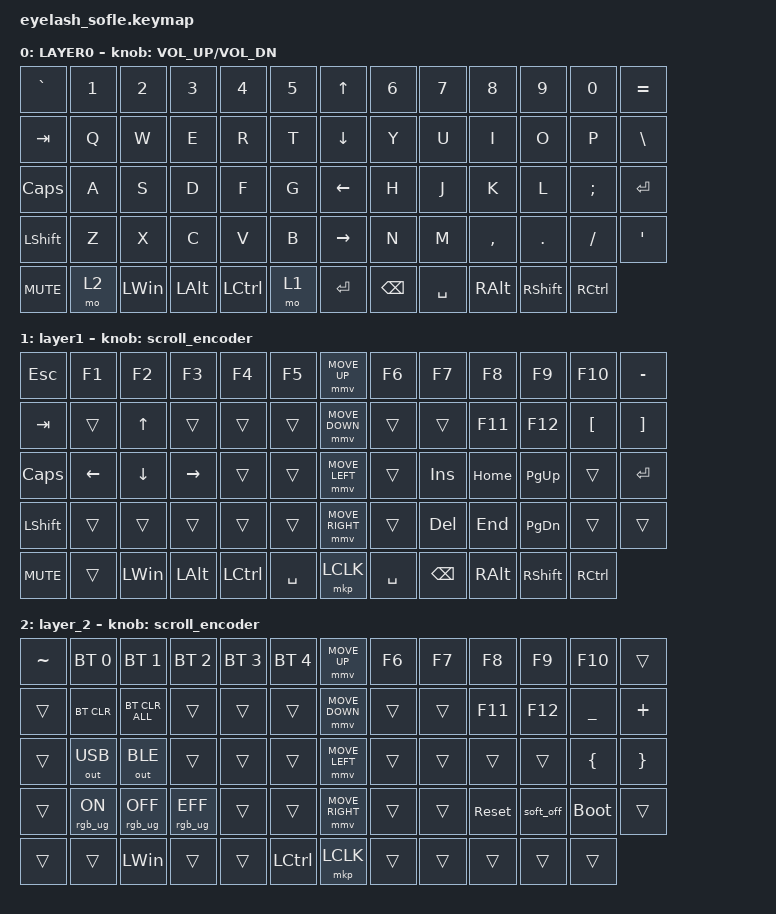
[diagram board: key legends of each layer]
#include <dt-bindings/zmk/mouse.h>
#include <input/processors.dtsi>
#include <behaviors.dtsi>
#include <dt-bindings/zmk/bt.h>
#include <dt-bindings/zmk/keys.h>
#include <dt-bindings/zmk/outputs.h>
#include <dt-bindings/zmk/pointing.h>
#include <dt-bindings/zmk/rgb.h>

/*

   &mmv_input_listener {
       input-processors = <&zip_xy_scaler 2 1>;
   };

   &msc_input_listener {
       input-processors = <&zip_xy_scaler 2 1>;
   };

 */

#define ZMK_MOUSE_DEFAULT_MOVE_VAL 1200  // 600
#define ZMK_MOUSE_DEFAULT_SCRL_VAL 20    // 10

/ {
    behaviors {
        mmv {
            acceleration-exponent = <1>;      // 1
            time-to-max-speed-ms = <900>;    // 40
            delay-ms = <0>;                   // 0
        };

        msc {
            acceleration-exponent = <1>;      // 0
            time-to-max-speed-ms = <400>;      // 500
            delay-ms = <0>;                   //   10
        };
    };

    scroll_encoder: scroll_encoder {
        compatible = "zmk,behavior-sensor-rotate";
        #sensor-binding-cells = <0>;
        bindings = <&msc SCRL_DOWN>, <&msc SCRL_UP>;

        tap-ms = <30>;
    };

    keymap {
        compatible = "zmk,keymap";

        layer0 {
            bindings = <
&kp GRAVE     &kp NUMBER_1  &kp NUMBER_2  &kp NUMBER_3  &kp NUMBER_4  &kp N5    &kp UP_ARROW     &kp NUMBER_6   &kp N7     &kp N8     &kp N9           &kp NUMBER_0  &kp EQUAL
&kp TAB       &kp Q         &kp W         &kp E         &kp R         &kp T     &kp DOWN_ARROW   &kp Y          &kp U      &kp I      &kp O            &kp P         &kp BSLH
&kp CAPSLOCK  &kp A         &kp S         &kp D         &kp F         &kp G     &kp LEFT_ARROW   &kp H          &kp J      &kp K      &kp L            &kp SEMI      &kp ENTER
&kp LSHIFT    &kp Z         &kp X         &kp C         &kp V         &kp B     &kp RIGHT_ARROW  &kp N          &kp M      &kp COMMA  &kp DOT          &kp FSLH      &kp APOS
&kp C_MUTE    &mo 2         &kp LEFT_WIN  &kp LEFT_ALT  &kp LCTRL     &mo 1     &kp ENTER        &kp BACKSPACE  &kp SPACE  &kp RALT   &kp RIGHT_SHIFT  &kp RCTRL
            >;

            sensor-bindings = <&inc_dec_kp C_VOLUME_UP C_VOL_DN>;
            display-name = "LAYER0";
        };

        layer_1 {
            bindings = <
&kp ESC     &kp F1          &kp F2          &kp F3           &kp F4     &kp F5       &mmv MOVE_UP     &kp F6     &kp F7         &kp F8    &kp F9         &kp F10           &kp MINUS
&kp TAB     &trans          &kp UP_ARROW    &trans           &trans     &trans       &mmv MOVE_DOWN   &trans     &trans         &kp F11   &kp F12        &kp LEFT_BRACKET  &kp RIGHT_BRACKET
&kp CAPS    &kp LEFT_ARROW  &kp DOWN_ARROW  &kp RIGHT_ARROW  &trans     &trans       &mmv MOVE_LEFT   &trans     &kp INSERT     &kp HOME  &kp PAGE_UP    &trans            &kp ENTER
&kp LSHFT   &trans          &trans          &trans           &trans     &trans       &mmv MOVE_RIGHT  &trans     &kp DELETE     &kp END   &kp PAGE_DOWN  &trans            &trans
&kp C_MUTE  &trans          &kp LEFT_WIN    &kp LEFT_ALT     &kp LCTRL  &kp SPACE    &mkp LCLK        &kp SPACE  &kp BACKSPACE  &kp RALT  &kp RSHIFT     &kp RCTRL
            >;

            display-name = "layer1";
            sensor-bindings = <&scroll_encoder>;
        };

        layer_2 {
            bindings = <
&kp TILDE  &bt BT_SEL 0    &bt BT_SEL 1     &bt BT_SEL 2     &bt BT_SEL 3  &bt BT_SEL 4    &mmv MOVE_UP     &kp F6  &kp F7  &kp F8      &kp F9     &kp F10      &trans
&trans     &bt BT_CLR      &bt BT_CLR_ALL   &trans           &trans        &trans          &mmv MOVE_DOWN   &trans  &trans  &kp F11     &kp F12    &kp UNDER    &kp PLUS
&trans     &out OUT_USB    &out OUT_BLE     &trans           &trans        &trans          &mmv MOVE_LEFT   &trans  &trans  &trans      &trans     &kp LBRC     &kp RBRC
&trans     &rgb_ug RGB_ON  &rgb_ug RGB_OFF  &rgb_ug RGB_EFF  &trans        &trans          &mmv MOVE_RIGHT  &trans  &trans  &sys_reset  &soft_off  &bootloader  &trans
&trans     &trans          &kp LEFT_WIN     &trans           &trans        &kp LCTRL       &mkp LCLK        &trans  &trans  &trans      &trans     &trans
            >;

            sensor-bindings = <&scroll_encoder>;
        };
    };
};
